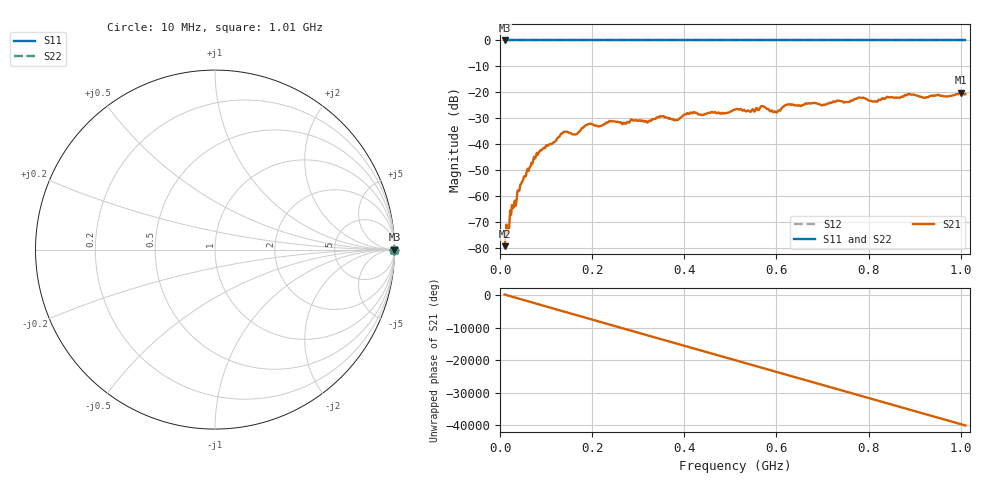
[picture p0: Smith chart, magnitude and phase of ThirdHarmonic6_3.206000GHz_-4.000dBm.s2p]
! 8/17/2025 9:44:50 AM
! C:\ANRITSUVNA\TEMP\TEMP.S2P
! CHANNEL.1
! TR.MEASUREMENT
! RAW.DATA
! RF.CORRECTION.OFF
! AVERAGING.OFF
! IF.BANDWIDTH: 5KHZ
! SWEEPTYPE:  FREQ.SWEEP(Linear)
! Reference Plane Port Info
! PORT:  PORT1  PORT2
! DISTANCE:  0  m  0  m
! TIME:  0  s  0  s
! PHASE.OFFSET:  0  deg.  0  deg.
! LOSS:  0  dB  0  dB
! REF.LOSS:  0  dB  0  dB
! REF.FREQ:  0  Hz  0  Hz
! Power Info
! POWER:  -20  dBm  -20  dBm
! EFF.POWER:  -20  dBm  -20  dBm
! SOURCE.ATTEN:  0  dB  0  dB
! TEST.ATTEN:  0  dB  0  dB
# GHZ S RI R 50.0
! FREQ.GHZ  S11RE  S11IM  S21RE  S21IM  S12RE  S12IM  S22RE  S22IM
!; PortSelection: Port_12
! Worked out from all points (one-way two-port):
!   501 points, 10 MHz to 1.01 GHz, reference 50 ohm
!   highest |S21| = -20.13 dB at 1 GHz (marker M1); lowest = -79.2 dB at 10 MHz (marker M2)
!   lowest |S11| = 0.0 dB at 10 MHz (marker M3)
!   |S11| at or under -10 dB: nowhere
!   |S22| runs from 0.0 to 0.0 dB; largest |S21 - S12| = 1.1
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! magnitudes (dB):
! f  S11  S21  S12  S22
! 10 MHz  0.0  -79.2  0.0  0.0
! 26 MHz  0.0  -63.4  0.0  0.0
! 42 MHz  0.0  -57.8  0.0  0.0
! 76 MHz  0.0  -45.4  0.0  0.0
! 136 MHz  0.0  -35.8  0.0  0.0
! 164 MHz  0.0  -36.1  0.0  0.0
! 178 MHz  0.0  -33.7  0.0  0.0
! 194 MHz  0.0  -32.1  0.0  0.0
! 322 MHz  0.0  -31.2  0.0  0.0
! 344 MHz  0.0  -29.6  0.0  0.0
! 382 MHz  0.0  -30.6  0.0  0.0
! 410 MHz  0.0  -28.3  0.0  0.0
! 510 MHz  0.0  -26.6  0.0  0.0
! 570 MHz  0.0  -25.3  0.0  0.0
! 598 MHz  0.0  -27.4  0.0  0.0
! 624 MHz  0.0  -24.6  0.0  0.0
! 678 MHz  0.0  -24.2  0.0  0.0
! 780 MHz  0.0  -22.0  0.0  0.0
! 814 MHz  0.0  -23.3  0.0  0.0
! 844 MHz  0.0  -21.9  0.0  0.0
! 1 GHz  0.0  -20.1  0.0  0.0
! 1.01 GHz  0.0  -20.7  0.0  0.0
